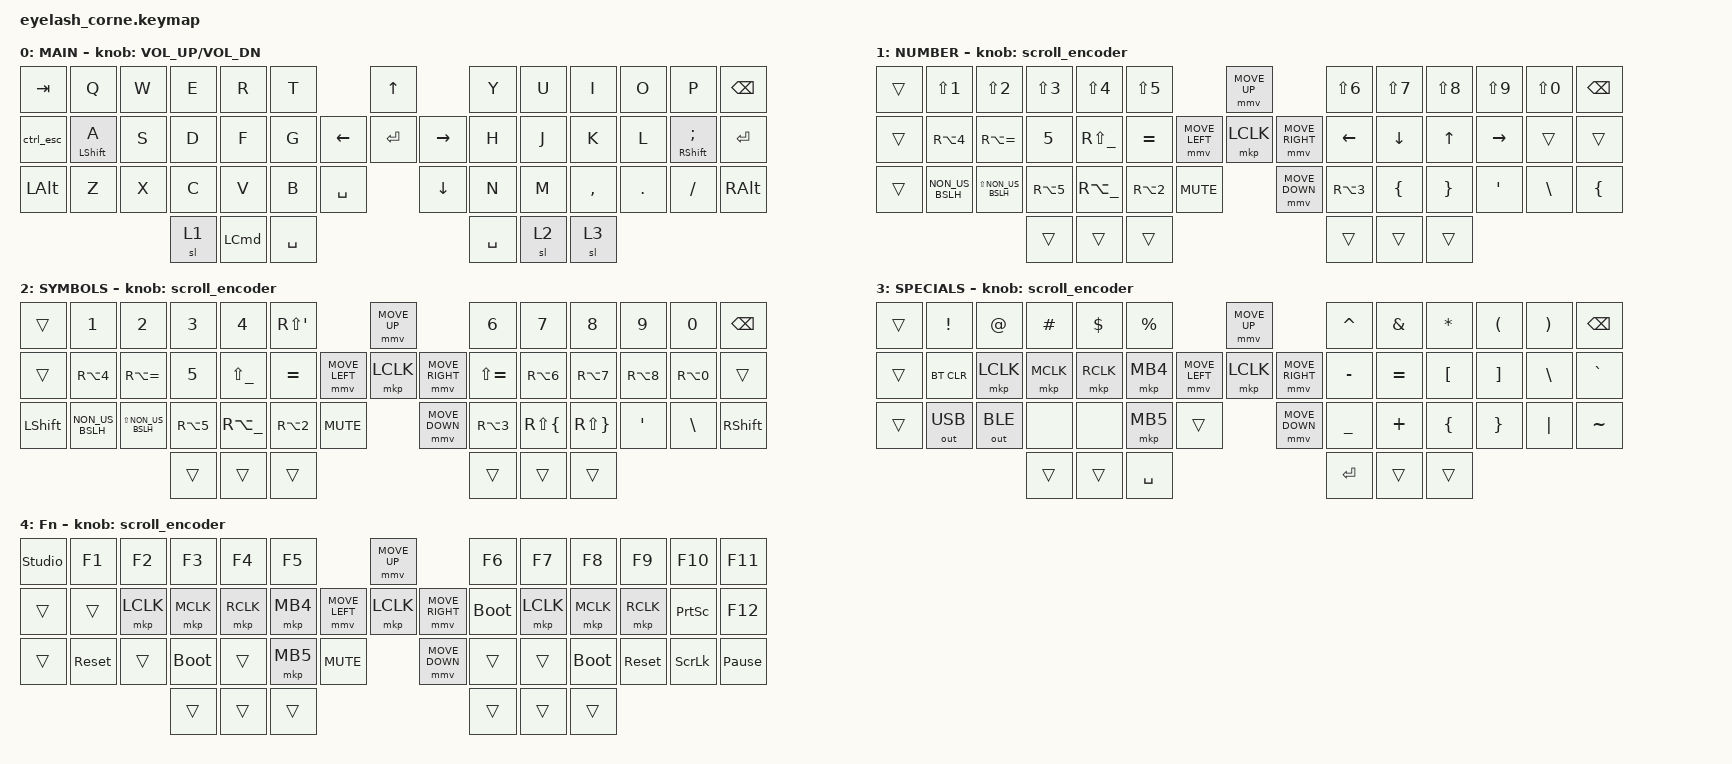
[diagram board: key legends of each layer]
#define ZMK_POINTING_DEFAULT_MOVE_VAL 1200  // 600
#define ZMK_POINTING_DEFAULT_SCRL_VAL 25   // 10

#include <input/processors.dtsi>
#include <zephyr/dt-bindings/input/input-event-codes.h>
#include <behaviors.dtsi>
#include <dt-bindings/zmk/bt.h>
#include <dt-bindings/zmk/keys.h>
#include <dt-bindings/zmk/outputs.h>
#include <dt-bindings/zmk/pointing.h>
#include <dt-bindings/zmk/rgb.h>

&mmv_input_listener { input-processors = <&zip_xy_scaler 2 1>; };

&msc_input_listener { input-processors = <&zip_scroll_scaler 2 1>; };

&msc {
    acceleration-exponent = <1>;      // 0
    time-to-max-speed-ms = <100>;       // 300
    delay-ms = <0>;                   // 0
};

&mmv {
    time-to-max-speed-ms = <500>;
    acceleration-exponent = <1>;
    trigger-period-ms = <16>;
};

&soft_off { hold-time-ms = <2000>; };

/ {
    behaviors {
        td0: td0 {
            compatible = "zmk,behavior-tap-dance";
            display-name = "Shift/Caps Lock Tap Dance";
            #binding-cells = <0>;
            bindings = <&kp LEFT_SHIFT>, <&kp CAPS>;
        };

        ctrl_esc: ctrl_esc {
            compatible = "zmk,behavior-tap-dance";
            label = "CTRL_ESC";
            #binding-cells = <0>;
            bindings = <&kp LEFT_CONTROL>, <&kp ESCAPE>;
        };

        shift: shift {
            compatible = "zmk,behavior-hold-tap";
            label = "SHIFT";
            bindings = <&kp>, <&kp>;

            #binding-cells = <2>;
            tapping-term-ms = <150>;
            flavor = "balanced";
            quick-tap-ms = <120>;
            require-prior-idle-ms = <150>;
        };
    };

    rgb_encoder: rgb_encoder {
        compatible = "zmk,behavior-sensor-rotate";
        #sensor-binding-cells = <0>;
        bindings = <&rgb_ug RGB_BRI>, <&rgb_ug RGB_BRD>;
    };

    scroll_encoder: scroll_encoder {
        compatible = "zmk,behavior-sensor-rotate";
        #sensor-binding-cells = <0>;
        bindings = <&msc SCRL_DOWN>, <&msc SCRL_UP>;

        tap-ms = <100>;
    };

    combos {
        compatible = "zmk,combos";

        softoff {
            bindings = <&soft_off>;
            key-positions = <1 15 29>;
        };
    };

    keymap {
        compatible = "zmk,keymap";

        default_layer {
            display-name = "MAIN";
            bindings = <
&kp TAB       &kp Q                &kp W  &kp E  &kp R             &kp T                             &kp UP                &kp Y      &kp U  &kp I      &kp O    &kp P                         &kp BSPC
&ctrl_esc     &shift LEFT_SHIFT A  &kp S  &kp D  &kp F             &kp G                   &kp LEFT  &kp ENTER  &kp RIGHT  &kp H      &kp J  &kp K      &kp L    &shift RIGHT_SHIFT SEMICOLON  &kp ENTER
&kp LEFT_ALT  &kp Z                &kp X  &kp C  &kp V             &kp B      &kp SPACE              &kp DOWN              &kp N      &kp M  &kp COMMA  &kp DOT  &kp FSLH                      &kp RIGHT_ALT
                                          &sl 1  &kp LEFT_COMMAND  &kp SPACE                                               &kp SPACE  &sl 2  &sl 3
            >;

            sensor-bindings = <&inc_dec_kp C_VOLUME_UP C_VOL_DN>;
        };

        lower_layer {
            display-name = "NUMBER";
            bindings = <
&trans  &kp LS(N1)        &kp LS(N2)           &kp LS(N3)  &kp LS(N4)          &kp LS(N5)                                      &mmv MOVE_UP                     &kp LS(N6)        &kp LS(N7)      &kp LS(N8)       &kp LS(N9)        &kp LS(N0)     &kp BSPC
&trans  &kp RA(NUMBER_4)  &kp RA(EQUAL)        &kp N5      &kp RS(UNDERSCORE)  &kp EQUAL                       &mmv MOVE_LEFT  &mkp LCLK       &mmv MOVE_RIGHT  &kp LEFT          &kp DOWN        &kp UP           &kp RIGHT         &trans         &trans
&trans  &kp NON_US_BSLH   &kp LS(NON_US_BSLH)  &kp RA(N5)  &kp RA(UNDERSCORE)  &kp RA(NUMBER_2)  &kp C_MUTE                    &mmv MOVE_DOWN                   &kp RA(NUMBER_3)  &kp LEFT_BRACE  &kp RIGHT_BRACE  &kp SINGLE_QUOTE  &kp BACKSLASH  &kp LEFT_BRACE
                                               &trans      &trans              &trans                                                                           &trans            &trans          &trans
            >;

            sensor-bindings = <&scroll_encoder>;
        };

        layer_4 {
            display-name = "SYMBOLS";
            bindings = <
&trans          &kp N1            &kp N2               &kp N3      &kp N4              &kp RS(SINGLE_QUOTE)                                &mmv MOVE_UP                     &kp N6            &kp N7              &kp N8               &kp N9            &kp N0         &kp BSPC
&trans          &kp RA(NUMBER_4)  &kp RA(EQUAL)        &kp N5      &kp LS(UNDERSCORE)  &kp EQUAL                           &mmv MOVE_LEFT  &mkp LCLK       &mmv MOVE_RIGHT  &kp LS(EQUAL)     &kp RA(NUMBER_6)    &kp RA(N7)           &kp RA(N8)        &kp RA(N0)     &trans
&kp LEFT_SHIFT  &kp NON_US_BSLH   &kp LS(NON_US_BSLH)  &kp RA(N5)  &kp RA(UNDERSCORE)  &kp RA(NUMBER_2)      &kp C_MUTE                    &mmv MOVE_DOWN                   &kp RA(NUMBER_3)  &kp RS(LEFT_BRACE)  &kp RS(RIGHT_BRACE)  &kp SINGLE_QUOTE  &kp BACKSLASH  &kp RIGHT_SHIFT
                                                       &trans      &trans              &trans                                                                               &trans            &trans              &trans
            >;

            sensor-bindings = <&scroll_encoder>;
        };

        raise_layer {
            display-name = "SPECIALS";
            bindings = <
&trans  &kp EXCL      &kp AT        &kp HASH   &kp DLLR   &kp PRCNT                            &mmv MOVE_UP                     &kp CARET  &kp AMPS   &kp ASTRK  &kp LPAR  &kp RPAR  &kp BSPC
&trans  &bt BT_CLR    &mkp LCLK     &mkp MCLK  &mkp RCLK  &mkp MB4             &mmv MOVE_LEFT  &mkp LCLK       &mmv MOVE_RIGHT  &kp MINUS  &kp EQUAL  &kp LBKT   &kp RBKT  &kp BSLH  &kp GRAVE
&trans  &out OUT_USB  &out OUT_BLE  &none      &none      &mkp MB5   &trans                    &mmv MOVE_DOWN                   &kp UNDER  &kp PLUS   &kp LBRC   &kp RBRC  &kp PIPE  &kp TILDE
                                    &trans     &trans     &kp SPACE                                                             &kp RET    &trans     &trans
            >;

            sensor-bindings = <&scroll_encoder>;
        };

        layer_3 {
            display-name = "Fn";
            bindings = <
&studio_unlock  &kp F1      &kp F2     &kp F3       &kp F4     &kp F5                                  &mmv MOVE_UP                     &kp F6       &kp F7     &kp F8       &kp F9      &kp F10          &kp F11
&trans          &trans      &mkp LCLK  &mkp MCLK    &mkp RCLK  &mkp MB4                &mmv MOVE_LEFT  &mkp LCLK       &mmv MOVE_RIGHT  &bootloader  &mkp LCLK  &mkp MCLK    &mkp RCLK   &kp PRINTSCREEN  &kp F12
&trans          &sys_reset  &trans     &bootloader  &trans     &mkp MB5  &kp C_MUTE                    &mmv MOVE_DOWN                   &trans       &trans     &bootloader  &sys_reset  &kp SCROLLLOCK   &kp PAUSE_BREAK
                                       &trans       &trans     &trans                                                                   &trans       &trans     &trans
            >;

            sensor-bindings = <&scroll_encoder>;
        };
    };
};
